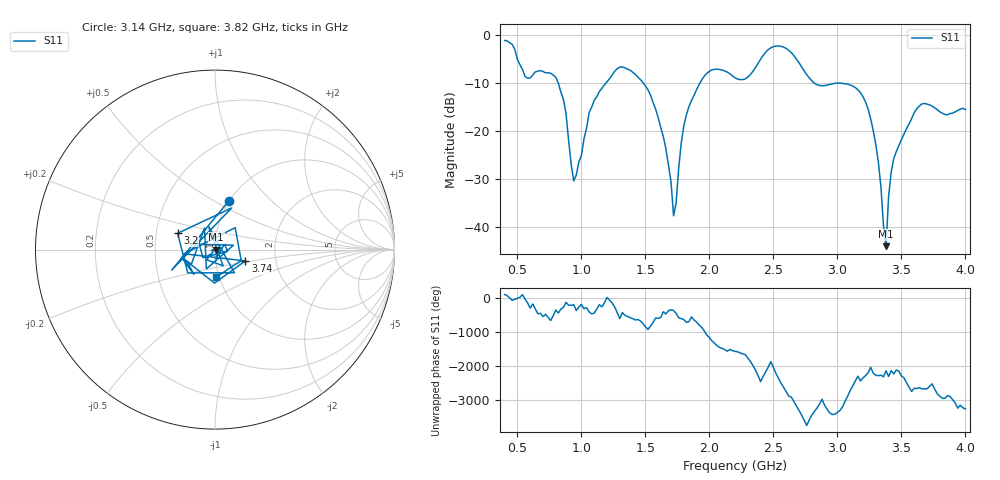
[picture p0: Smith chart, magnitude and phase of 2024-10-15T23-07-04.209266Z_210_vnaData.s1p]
! Created with skrf (http://scikit-rf.org).
# Hz S RI R 50.0
!freq ReS11 ImS11
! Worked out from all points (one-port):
!   181 points, 400 MHz to 4 GHz, reference 50 ohm
!   lowest |S11| = -44.0 dB at 3.38 GHz (marker M1), VSWR 1.01, Z = 50.6 + j0.0533 ohm
!   |S11| at or under -10 dB: 818.3 MHz to 1.193 GHz (374.9 MHz wide, 37.3 % of centre); 1.482 GHz to 1.927 GHz (444.9 MHz wide, 26.1 % of centre); 2.818 GHz to end of sweep
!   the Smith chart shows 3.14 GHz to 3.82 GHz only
!   S11 on the Smith chart (normalised r, x): 3.14 GHz: 0.99, +0.59; 3.2 GHz: 0.65, +0.12; 3.74 GHz: 1.39, -0.18; 3.82 GHz: 0.97, -0.30
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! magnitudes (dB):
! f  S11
! 400 MHz  -1.2
! 560 MHz  -8.7
! 760 MHz  -8.0
! 860 MHz  -13.5
! 940 MHz  -30.4
! 1.06 GHz  -16.2
! 1.3 GHz  -6.7
! 1.58 GHz  -15.5
! 1.66 GHz  -23.7
! 1.72 GHz  -37.7
! 1.76 GHz  -27.8
! 1.82 GHz  -16.7
! 1.94 GHz  -9.4
! 2.2 GHz  -8.9
! 2.5 GHz  -2.5
! 2.66 GHz  -4.3
! 2.84 GHz  -10.4
! 3.1 GHz  -10.5
! 3.14 GHz  -11.0
! 3.2 GHz  -12.9
! 3.3 GHz  -22.8
! 3.38 GHz  -44.0
! 3.4 GHz  -33.7
! 3.42 GHz  -28.6
! 3.56 GHz  -18.5
! 3.74 GHz  -14.9
! 3.82 GHz  -16.3
! 4 GHz  -15.5
